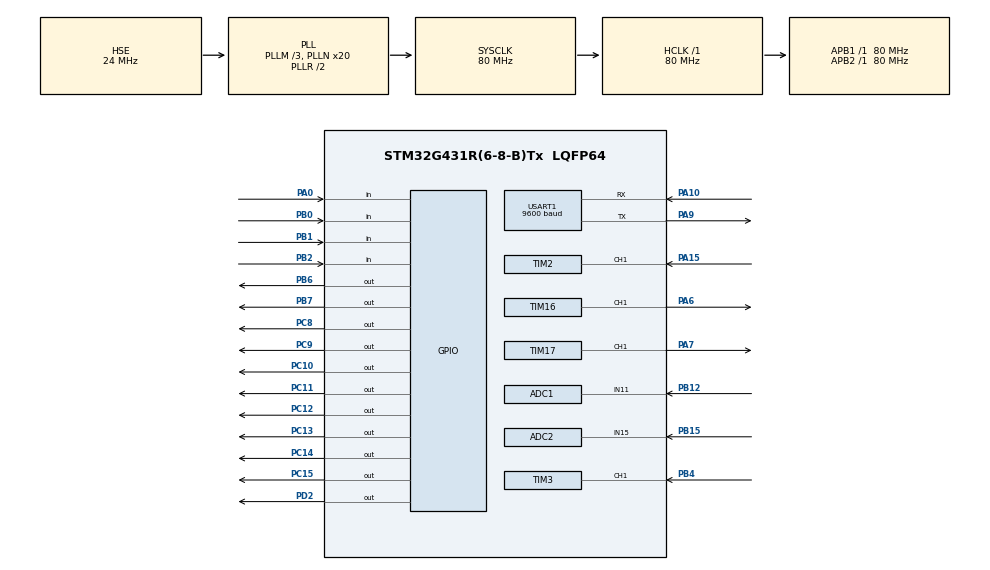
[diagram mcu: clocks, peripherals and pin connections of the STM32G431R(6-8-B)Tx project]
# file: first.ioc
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ADC1.Channel-1\#ChannelRegularConversion=ADC_CHANNEL_11
ADC1.NbrOfConversionFlag=1
ADC1.OffsetNumber-1\#ChannelRegularConversion=ADC_OFFSET_NONE
ADC1.Rank-1\#ChannelRegularConversion=1
ADC1.SamplingTime-1\#ChannelRegularConversion=ADC_SAMPLETIME_2CYCLES_5
ADC1.master=1
ADC2.Channel-0\#ChannelRegularConversion=ADC_CHANNEL_15
ADC2.NbrOfConversionFlag=1
ADC2.OffsetNumber-0\#ChannelRegularConversion=ADC_OFFSET_NONE
ADC2.Rank-0\#ChannelRegularConversion=1
ADC2.SamplingTime-0\#ChannelRegularConversion=ADC_SAMPLETIME_2CYCLES_5
Mcu.Family=STM32G4
Mcu.Name=STM32G431R(6-8-B)Tx
Mcu.Package=LQFP64
NVIC.PriorityGroup=NVIC_PRIORITYGROUP_4
NVIC.TIM2_IRQn=true\:0\:0\:false\:false\:true\:true\:true
NVIC.TIM3_IRQn=true\:0\:0\:false\:false\:true\:true\:true
NVIC.TIM4_IRQn=true\:0\:0\:false\:false\:true\:true\:true
NVIC.USART1_IRQn=true\:0\:0\:false\:false\:true\:true\:true
PA0.GPIO_PuPd=GPIO_PULLUP
PA0.Signal=GPIO_Input
PA10.Mode=Asynchronous
PA10.Signal=USART1_RX
PA13.Mode=Serial_Wire
PA13.Signal=SYS_JTMS-SWDIO
PA14.Mode=Serial_Wire
PA14.Signal=SYS_JTCK-SWCLK
PA15.Signal=S_TIM2_CH1
PA6.Signal=S_TIM16_CH1
PA7.Signal=S_TIM17_CH1
PA9.Mode=Asynchronous
PA9.Signal=USART1_TX
PB0.GPIO_PuPd=GPIO_PULLUP
PB0.Signal=GPIO_Input
PB1.GPIO_PuPd=GPIO_PULLUP
PB1.Signal=GPIO_Input
PB12.Mode=IN11-Single-Ended
PB12.Signal=ADC1_IN11
PB15.Mode=IN15-Single-Ended
PB15.Signal=ADC2_IN15
PB2.GPIO_PuPd=GPIO_PULLUP
PB2.Signal=GPIO_Input
PB4.Signal=S_TIM3_CH1
PB6.Signal=GPIO_Output
PB7.Signal=GPIO_Output
PC10.PinState=GPIO_PIN_SET
PC10.Signal=GPIO_Output
PC11.PinState=GPIO_PIN_SET
PC11.Signal=GPIO_Output
PC12.PinState=GPIO_PIN_SET
PC12.Signal=GPIO_Output
PC13.PinState=GPIO_PIN_SET
PC13.Signal=GPIO_Output
PC14-OSC32_IN.PinState=GPIO_PIN_SET
PC14-OSC32_IN.Signal=GPIO_Output
PC15-OSC32_OUT.PinState=GPIO_PIN_SET
PC15-OSC32_OUT.Signal=GPIO_Output
PC8.PinState=GPIO_PIN_SET
PC8.Signal=GPIO_Output
PC9.PinState=GPIO_PIN_SET
PC9.Signal=GPIO_Output
PD2.PinState=GPIO_PIN_RESET
PD2.Signal=GPIO_Output
PF0-OSC_IN.Mode=HSE-External-Oscillator
PF0-OSC_IN.Signal=RCC_OSC_IN
PF1-OSC_OUT.Mode=HSE-External-Oscillator
PF1-OSC_OUT.Signal=RCC_OSC_OUT
ProjectManager.HeapSize=0x200
ProjectManager.StackSize=0x400
ProjectManager.TargetToolchain=MDK-ARM V5
RCC.ADC12Freq_Value=80000000
RCC.AHBFreq_Value=80000000
RCC.APB1Freq_Value=80000000
RCC.APB1TimFreq_Value=80000000
RCC.APB2Freq_Value=80000000
RCC.APB2TimFreq_Value=80000000
RCC.CortexFreq_Value=80000000
RCC.EXTERNAL_CLOCK_VALUE=12288000
RCC.HCLKFreq_Value=80000000
RCC.HSE_VALUE=24000000
RCC.HSI48_VALUE=48000000
RCC.HSI_VALUE=16000000
RCC.LSE_VALUE=32768
RCC.PLLM=RCC_PLLM_DIV3
RCC.PLLN=20
RCC.PLLSourceVirtual=RCC_PLLSOURCE_HSE
RCC.SYSCLKFreq_VALUE=80000000
RCC.SYSCLKSource=RCC_SYSCLKSOURCE_PLLCLK
RCC.USBFreq_Value=80000000
RCC.VCOOutputFreq_Value=160000000
SH.S_TIM16_CH1.0=TIM16_CH1,PWM Generation1 CH1
SH.S_TIM17_CH1.0=TIM17_CH1,PWM Generation1 CH1
SH.S_TIM2_CH1.0=TIM2_CH1,Input_Capture1_from_TI1
SH.S_TIM2_CH1.1=TIM2_CH1,Input_Capture2_from_TI1
SH.S_TIM3_CH1.0=TIM3_CH1,Input_Capture1_from_TI1
SH.S_TIM3_CH1.1=TIM3_CH1,Input_Capture2_from_TI1
TIM16.Channel=TIM_CHANNEL_1
TIM16.PeriodNoDither=100-1
TIM16.Prescaler=8000-1
TIM16.PulseNoDither_1=20
TIM17.Channel=TIM_CHANNEL_1
TIM17.PeriodNoDither=100-1
TIM17.Prescaler=4000-1
TIM17.PulseNoDither_1=40
TIM2.Channel-Input_Capture1_from_TI1=TIM_CHANNEL_1
TIM2.Channel-Input_Capture2_from_TI1=TIM_CHANNEL_2
TIM2.ICPolarity_CH2=TIM_INPUTCHANNELPOLARITY_FALLING
TIM2.PeriodNoDither=65535
TIM2.Prescaler=80-1
TIM3.Channel-Input_Capture1_from_TI1=TIM_CHANNEL_1
TIM3.Channel-Input_Capture2_from_TI1=TIM_CHANNEL_2
TIM3.ICPolarity_CH2=TIM_INPUTCHANNELPOLARITY_FALLING
TIM3.PeriodNoDither=10000-1
TIM3.Prescaler=80-1
TIM4.PeriodNoDither=10000-1
TIM4.Prescaler=80-1
USART1.BaudRate=9600
USART1.VirtualMode-Asynchronous=VM_ASYNC
VP_SYS_VS_DBSignals.Mode=DisableDeadBatterySignals
VP_TIM16_VS_ClockSourceINT.Mode=Enable_Timer
VP_TIM17_VS_ClockSourceINT.Mode=Enable_Timer
VP_TIM2_VS_ClockSourceINT.Mode=Internal
VP_TIM3_VS_ClockSourceINT.Mode=Internal
VP_TIM4_VS_ClockSourceINT.Mode=Internal
board=custom

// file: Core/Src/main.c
/* USER CODE BEGIN Header */
/**
  ******************************************************************************
  * @file           : main.c
  * @brief          : Main program body
  ******************************************************************************
  * @attention
  *
  * <h2><center>&copy; Copyright (c) 2024 STMicroelectronics.
  * All rights reserved.</center></h2>
  *
  * This software component is licensed by ST under BSD 3-Clause license,
  * the "License"; You may not use this file except in compliance with the
  * License. You may obtain a copy of the License at:
  *                        opensource.org/licenses/BSD-3-Clause
  *
  ******************************************************************************
  */
/* USER CODE END Header */

#include "main.h"
#include "adc.h"
#include "tim.h"
#include "usart.h"
#include "gpio.h"

/* USER CODE BEGIN Includes */
#include "stm32g4xx_hal_uart.h"
#include "led.h"
#include "lcd.h"
#include "stdio.h"
#include "interrupt.h"
#include "badc.h"
#include "i2c_hal.h"
#include "string.h"
/* USER CODE END Includes */

/* USER CODE BEGIN PTD */
extern struct keys key[];
extern unsigned int frq1,frq2;
extern uint duty1,duty2;
/* USER CODE END PTD */

void SystemClock_Config(void);

/* USER CODE BEGIN 0 */

//上位机结合stm32显示画面的串口设置
/*
UART_HandleTypeDef huart1;
uint8_t uart_rx_buf1[1024 * 6]; //串口接收数据缓冲区1
uint8_t uart_rx_buf2[1024 * 6]; //串口接收数据缓冲区2

// UART1 初始化
static void MX_UART1_Init(void)
{
	GPIO_InitTypeDef GPIO_InitStruct = {0};
	RCC_PeriphCLKInitTypeDef PeriphClkInit = {0};

	PeriphClkInit.PeriphClockSelection = RCC_PERIPHCLK_USART1;
	PeriphClkInit.Usart1ClockSelection = RCC_USART1CLKSOURCE_PCLK2;
	HAL_RCCEx_PeriphCLKConfig(&PeriphClkInit); //配置USART1外设的时钟

	__HAL_RCC_USART1_CLK_ENABLE(); //打开USART1的时钟
	__HAL_RCC_GPIOA_CLK_ENABLE();

	huart1.Instance = USART1;
	huart1.Init.BaudRate = 1000000; //设置波特率
	huart1.Init.WordLength = UART_WORDLENGTH_8B; //设置数据位
	huart1.Init.StopBits = UART_STOPBITS_1; //设置停止位
	huart1.Init.Parity = UART_PARITY_NONE;
	huart1.Init.Mode = UART_MODE_TX_RX;
	huart1.Init.HwFlowCtl = UART_HWCONTROL_NONE;
	huart1.Init.OverSampling = UART_OVERSAMPLING_16;
	huart1.Init.OneBitSampling = UART_ONE_BIT_SAMPLE_DISABLE;
	huart1.Init.ClockPrescaler = UART_PRESCALER_DIV1;
	huart1.AdvancedInit.AdvFeatureInit = UART_ADVFEATURE_NO_INIT;

	HAL_MultiProcessor_Init(&huart1, 0, UART_WAKEUPMETHOD_IDLELINE);
	HAL_UARTEx_SetTxFifoThreshold(&huart1, UART_TXFIFO_THRESHOLD_1_8);

	HAL_UARTEx_SetRxFifoThreshold(&huart1, UART_RXFIFO_THRESHOLD_1_8);
	HAL_UARTEx_DisableFifoMode(&huart1);

	GPIO_InitStruct.Pin = GPIO_PIN_9|GPIO_PIN_10;
	GPIO_InitStruct.Mode = GPIO_MODE_AF_OD; //复用开漏输出
	GPIO_InitStruct.Pull = GPIO_NOPULL;
	GPIO_InitStruct.Speed = GPIO_SPEED_FREQ_LOW;
	GPIO_InitStruct.Alternate = GPIO_AF7_USART1;//复用功能
	HAL_GPIO_Init(GPIOA, &GPIO_InitStruct); //初始化串口引脚PA9 PA10

	HAL_NVIC_SetPriority(USART1_IRQn, 0, 0); //设置串口中断优先级
	HAL_NVIC_EnableIRQ(USART1_IRQn); //打开串口中断

	HAL_UART_Receive_IT(&huart1, uart_rx_buf1, 4800); //设置串口中断缓冲区及中断阈值(当前为1)
}

//串口中断
void USART1_IRQHandler(void) //串口中断
{
	HAL_UART_IRQHandler(&huart1);
}
int buf = 1; //记录当前使用的是buf1 还是 buf2
int disp = 0; //告诉main该显示什么内容，0不显示，1显示buf1，2显示buf2

//串口中断回调函数
void HAL_UART_RxCpltCallback(UART_HandleTypeDef *huart)
{
	if(buf == 1) //若果当前是使用的是buf1
	{
		buf = 2; //下次使用buf2
		disp = 1;//告诉main显示buf1的内容到屏幕
		HAL_UART_Receive_IT(&huart1, uart_rx_buf2, 4800);  //切换为buf2
	}
	else
	{
		buf = 1; //下次使用buf1
		disp = 2;//告诉main显示buf2的内容到屏幕
		HAL_UART_Receive_IT(&huart1, uart_rx_buf1, 4800);  //切换为buf2
	}
}
*/

/* USER CODE END 0 */

int main(void)
{
  /* USER CODE BEGIN 1 */
	uchar pa6_duty;
	uchar pa7_duty;

  /* USER CODE END 1 */

  /* MCU Configuration--------------------------------------------------------*/

  /* Reset of all peripherals, Initializes the Flash interface and the Systick. */
  HAL_Init();

  /* Configure the system clock */
  SystemClock_Config();

  /* Initialize all configured peripherals */
  MX_GPIO_Init();
  MX_ADC1_Init();
  MX_ADC2_Init();
  MX_TIM2_Init();
  MX_TIM3_Init();
  MX_TIM4_Init();
  MX_TIM16_Init();
  MX_TIM17_Init();
  MX_USART1_UART_Init();
  /* USER CODE BEGIN 2 */

	LED_Display(0x00);			//led初始化
	LCD_Init();			//lcd初始化

	//清空背景为蓝色
	LCD_Clear(Black);
	//设置背景色为蓝色
	LCD_SetBackColor(Black);
	//设置前景色为白色
	LCD_SetTextColor(White);

	//普通定时器开启
	HAL_TIM_Base_Start_IT(&htim4);

	//pwm输出通道开启
	HAL_TIM_PWM_Start(&htim16,TIM_CHANNEL_1);
	HAL_TIM_PWM_Start(&htim17,TIM_CHANNEL_1);
	HAL_TIM_IC_Start_IT(&htim2,TIM_CHANNEL_1);
	HAL_TIM_IC_Start_IT(&htim3,TIM_CHANNEL_1);
	HAL_TIM_IC_Start_IT(&htim2,TIM_CHANNEL_2);
	HAL_TIM_IC_Start_IT(&htim3,TIM_CHANNEL_2);
	/*
	//将界面划分为四小格
	LCD_DrawLine(120,0,320,Horizontal);
	LCD_DrawLine(0,160,240,Vertical);
	HAL_Delay(1000);
	LCD_Clear(Blue);

	//在界面中心显示一个矩形
	LCD_DrawRect(70,210,100,100);
	HAL_Delay(1000);
	LCD_Clear(Blue);

	//在界面中心显示一个圆形
	LCD_DrawCircle(120,160,50);
	HAL_Delay(1000);

	//清空LCD背景为蓝色
	LCD_Clear(Blue);
	LCD_DisplayStringLine(Line4 ,(unsigned char *)"    Hello,world.   ");
	HAL_Delay(1000);

	LCD_SetBackColor(White);
	LCD_DisplayStringLine(Line0,(unsigned char *)"                    ");
	LCD_SetBackColor(Black);
	LCD_DisplayStringLine(Line1,(unsigned char *)"                    ");
	LCD_SetBackColor(Grey);
	LCD_DisplayStringLine(Line2,(unsigned char *)"                    ");
	LCD_SetBackColor(Blue);
	LCD_DisplayStringLine(Line3,(unsigned char *)"                    ");
	LCD_SetBackColor(Blue2);
	LCD_DisplayStringLine(Line4,(unsigned char *)"                    ");
	LCD_SetBackColor(Red);
	LCD_DisplayStringLine(Line5,(unsigned char *)"                    ");
	LCD_SetBackColor(Magenta);
	LCD_DisplayStringLine(Line6,(unsigned char *)"                    ");
	LCD_SetBackColor(Green);
	LCD_DisplayStringLine(Line7,(unsigned char *)"                    ");
	LCD_SetBackColor(Cyan);
	LCD_DisplayStringLine(Line8,(unsigned char *)"                    ");
	LCD_SetBackColor(Yellow);
	LCD_DisplayStringLine(Line9,(unsigned char *)"                    ");
	*/

  /* USER CODE END 2 */

  /* Infinite loop */
  while (1)
  {

    /* USER CODE BEGIN 3 */
		char text[30];
		if(key[0].single_flag==1)
		{
			uchar frq_h=1>>8;
			uchar frq_l=1&0xff;
			eeprom_write(1,frq_h);
			HAL_Delay(10);
			eeprom_write(2,frq_l);
			key[0].single_flag=0;
		}
//		if(key[0].long_flag==1)
//		{
//			sprintf(text," key0down_long				");
//			LCD_DisplayStringLine(Line8,(uint8_t *)text);
//			key[0].single_flag=0;
//		}
//
		if(key[1].single_flag==1)
		{
			//sprintf(text," key1down				");
			//LCD_DisplayStringLine(Line7,(uint8_t *)text);
			pa6_duty+=10;
			if(pa6_duty==100) pa6_duty=10;
			__HAL_TIM_SetCompare(&htim16,TIM_CHANNEL_1,pa6_duty);
			sprintf(text," pwm1_duty:%d			",pa6_duty);
			LCD_DisplayStringLine(Line8,(uint8_t *)text);
			key[1].single_flag=0;
		}

		if(key[2].single_flag==1)
		{
			//sprintf(text," key2down				");
			//LCD_DisplayStringLine(Line6,(uint8_t *)text);
			pa7_duty+=10;
			if(pa7_duty==100) pa7_duty=10;
			__HAL_TIM_SetCompare(&htim17,TIM_CHANNEL_1,pa7_duty);
			sprintf(text," pwm2_duty:%d			",pa7_duty);
			LCD_DisplayStringLine(Line7,(uint8_t *)text);
			key[2].single_flag=0;
		}
//
//		if(key[3].single_flag==1)
//		{
//			//sprintf(text," key3down				");
//			//LCD_DisplayStringLine(Line5,(uint8_t *)text);
//			//key[3].single_flag=0;
//		}

		sprintf(text,"            FRQ1=%d ",frq1);
		LCD_DisplayStringLine(Line0,(uint8_t *)text);
		sprintf(text,"            FRQ2=%d ",frq2);
		LCD_DisplayStringLine(Line1,(uint8_t *)text);
//		sprintf(text,"            DUTY1=%d ",duty1);
//		LCD_DisplayStringLine(Line2,(uint8_t *)text);
//		sprintf(text,"            DUTY2=%d ",duty2);
//		LCD_DisplayStringLine(Line3,(uint8_t *)text);
//		sprintf(text,"            V=%.2f ",Get_ADC(&hadc1));
//		LCD_DisplayStringLine(Line4,(uint8_t *)text);
//		sprintf(text,"            V=%.2f ",Get_ADC(&hadc2));
//		LCD_DisplayStringLine(Line5,(uint8_t *)text);

		uint frq_eep=(eeprom_read(1)<<8)+(eeprom_read(2));
		sprintf(text,"  frq_eep=%d ",frq_eep);
		LCD_DisplayStringLine(Line5,(uint8_t *)text);

		char temp[30];
		sprintf(temp,"frq=%d\r\n",frq1);
		HAL_UART_Transmit(&huart1,(uint8_t*)temp,strlen(temp),50);
  }
  /* USER CODE END 3 */
}

void SystemClock_Config(void)
{
  RCC_OscInitTypeDef RCC_OscInitStruct = {0};
  RCC_ClkInitTypeDef RCC_ClkInitStruct = {0};
  RCC_PeriphCLKInitTypeDef PeriphClkInit = {0};

  /** Configure the main internal regulator output voltage
  */
  HAL_PWREx_ControlVoltageScaling(PWR_REGULATOR_VOLTAGE_SCALE1);
  /** Initializes the CPU, AHB and APB busses clocks
  */
  RCC_OscInitStruct.OscillatorType = RCC_OSCILLATORTYPE_HSE;
  RCC_OscInitStruct.HSEState = RCC_HSE_ON;
  RCC_OscInitStruct.PLL.PLLState = RCC_PLL_ON;
  RCC_OscInitStruct.PLL.PLLSource = RCC_PLLSOURCE_HSE;
  RCC_OscInitStruct.PLL.PLLM = RCC_PLLM_DIV3;
  RCC_OscInitStruct.PLL.PLLN = 20;
  RCC_OscInitStruct.PLL.PLLP = RCC_PLLP_DIV2;
  RCC_OscInitStruct.PLL.PLLQ = RCC_PLLQ_DIV2;
  RCC_OscInitStruct.PLL.PLLR = RCC_PLLR_DIV2;
  if (HAL_RCC_OscConfig(&RCC_OscInitStruct) != HAL_OK)
  {
    Error_Handler();
  }
  /** Initializes the CPU, AHB and APB busses clocks
  */
  RCC_ClkInitStruct.ClockType = RCC_CLOCKTYPE_HCLK|RCC_CLOCKTYPE_SYSCLK
                              |RCC_CLOCKTYPE_PCLK1|RCC_CLOCKTYPE_PCLK2;
  RCC_ClkInitStruct.SYSCLKSource = RCC_SYSCLKSOURCE_PLLCLK;
  RCC_ClkInitStruct.AHBCLKDivider = RCC_SYSCLK_DIV1;
  RCC_ClkInitStruct.APB1CLKDivider = RCC_HCLK_DIV1;
  RCC_ClkInitStruct.APB2CLKDivider = RCC_HCLK_DIV1;

  if (HAL_RCC_ClockConfig(&RCC_ClkInitStruct, FLASH_LATENCY_3) != HAL_OK)
  {
    Error_Handler();
  }
  /** Initializes the peripherals clocks
  */
  PeriphClkInit.PeriphClockSelection = RCC_PERIPHCLK_USART1|RCC_PERIPHCLK_ADC12;
  PeriphClkInit.Usart1ClockSelection = RCC_USART1CLKSOURCE_PCLK2;
  PeriphClkInit.Adc12ClockSelection = RCC_ADC12CLKSOURCE_SYSCLK;
  if (HAL_RCCEx_PeriphCLKConfig(&PeriphClkInit) != HAL_OK)
  {
    Error_Handler();
  }
}

void Error_Handler(void)
{
}

/************************ (C) COPYRIGHT STMicroelectronics *****END OF FILE****/
